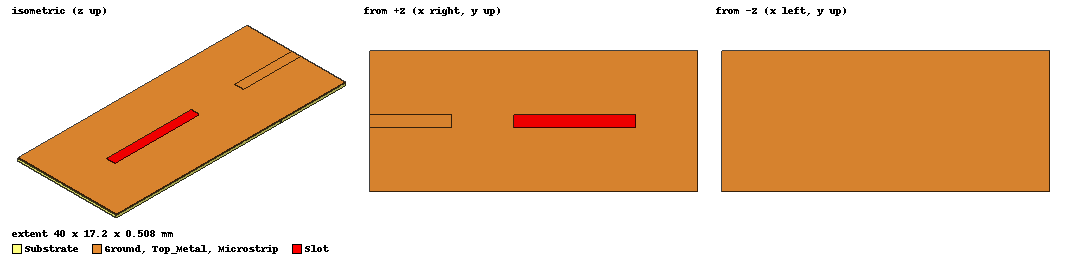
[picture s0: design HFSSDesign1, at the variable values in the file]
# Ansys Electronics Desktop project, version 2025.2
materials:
  vacuum: permittivity=1
  Rogers_5880: permittivity=2.2 dielectric_loss_tangent=0.0009
  pec: conductivity=1e+30

design HFSSDesign1 (HFSS, HFSS Terminal Network, model units mm)
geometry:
  Substrate [Rogers_5880] = box(corner=(0mm, 0mm, 0mm), size=(40mm, 17.2mm, 0.508mm))
  Ground = rectangle(corner=(0mm, 0mm, 0mm), x_size=40mm, y_size=17.2mm)
  Top_Metal = rectangle(corner=(0mm, 0mm, 0.508mm), x_size=40mm, y_size=17.2mm)
  Slot = rectangle(corner=(17.6mm, 7.85mm, 0.508mm), x_size=14.8mm, y_size=1.5mm)
  Slot_1 = Slot.copy()
  Top_Metal.subtract(Slot_1)
  Via_L_1 = cylinder(axis=Z, base_centre=(10.25mm, 0.25mm, 0mm), radius=0.25mm, height=0.508mm)
  Via_L_1_1..Via_L_1_29 = Via_L_1.duplicate_along_line(step=(1mm, 0mm, 0mm), total=30)
  Via_R_1 = cylinder(axis=Z, base_centre=(10.25mm, 16.95mm, 0mm), radius=0.25mm, height=0.508mm)
  Vias [pec], Via_R_1_1, Via_R_1_2, Via_R_1_4..Via_R_1_29 = Via_R_1.duplicate_along_line(step=(1mm, 0mm, 0mm), total=30)
  Vias.unite(Via_R_1_4..Via_R_1_29, Via_R_1_2, Via_R_1_1, Via_R_1, Via_L_1_29, Via_L_1_28, Via_L_1_27, Via_L_1_26, Via_L_1_25, Via_L_1_24, Via_L_1_23, Via_L_1_22, Via_L_1_21, Via_L_1_20, Via_L_1_19, Via_L_1_18, Via_L_1_17, Via_L_1_16, Via_L_1_15, Via_L_1_14, Via_L_1_12, Via_L_1_13, Via_L_1_11, Via_L_1_10, Via_L_1_9, Via_L_1_7, Via_L_1_8, Via_L_1_6, Via_L_1_5, Via_L_1_4, Via_L_1_3, Via_L_1_2, Via_L_1_1, Via_L_1)
  Microstrip = rectangle(corner=(0mm, 7.82mm, 0.508mm), x_size=10mm, y_size=1.56mm)
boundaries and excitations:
  Ground_PEC: Perfect E Objects=Ground
  TopMetal_PEC: Perfect E Objects=Top_Metal
  Microstrip_PEC: Perfect E Objects=Microstrip
